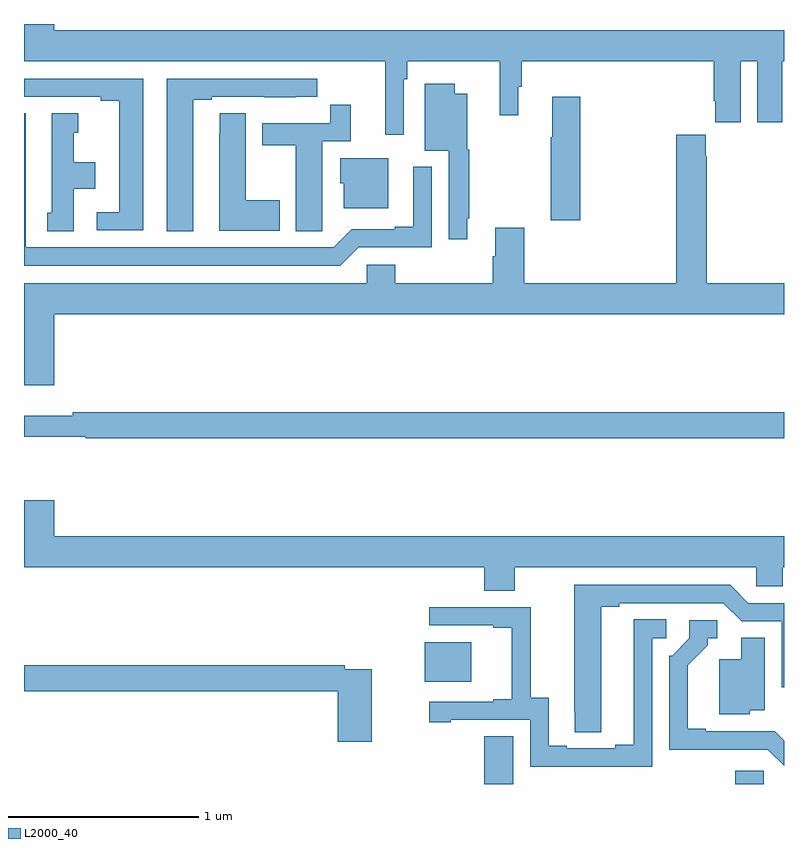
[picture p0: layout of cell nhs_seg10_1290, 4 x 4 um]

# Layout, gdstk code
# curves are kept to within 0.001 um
import gdstk
lib = gdstk.Library(unit=1e-6, precision=1e-09)
def R(c, l, rs):  # rectangles x0, y0, x1, y1
    for r in rs: c.add(gdstk.rectangle(r[:2], r[2:], *l))
def P(c, l, *ps):  # polygons
    for p in ps: c.add(gdstk.Polygon(p, *l))
L2000_40 = (2000, 40)

nhs_seg10_1290 = lib.new_cell('nhs_seg10_1290')
R(nhs_seg10_1290, L2000_40, [(179.423,1308.5,179.575,1308.752), (180.743,1308.5,180.894,1308.57), (179.108,1309.037,179.353,1309.246)])
P(nhs_seg10_1290, L2000_40, [(178.998,1312.208),(179.018,1312.208),(179.018,1312.304),(179.503,1312.304),(179.503,1312.02),(179.602,1312.02),(179.602,1312.17),(179.621,1312.17),(179.621,1312.304),(180.629,1312.304),(180.629,1312.096),(180.638,1312.096),(180.638,1311.984),(180.772,1311.984),(180.772,1312.304),(180.86,1312.304),(180.86,1311.984),(180.99,1311.984),(180.99,1312.096),(180.991,1312.096),(180.991,1312.304),(181,1312.304),(181,1312.468),(177.16,1312.468),(177.16,1312.5),(177,1312.5),(177,1312.304),(178.901,1312.304),(178.901,1311.918),(178.998,1311.918)],
  [(177.628,1312.212),(177,1312.212),(177,1312.116),(177.404,1312.116),(177.404,1312.096),(177.5,1312.096),(177.5,1311.51),(177.384,1311.51),(177.384,1311.414),(177.628,1311.414)],
  [(177.892,1312.101),(177.988,1312.101),(177.988,1312.116),(178.264,1312.116),(178.264,1312.115),(178.43,1312.115),(178.43,1312.116),(178.543,1312.116),(178.543,1312.212),(177.752,1312.212),(177.752,1311.409),(177.892,1311.409)],
  [(179.332,1311.478),(179.344,1311.478),(179.344,1311.837),(179.332,1311.837),(179.332,1312.132),(179.266,1312.132),(179.266,1312.186),(179.108,1312.186),(179.108,1311.833),(179.235,1311.833),(179.235,1311.366),(179.332,1311.366)],
  [(179.927,1312.117),(179.78,1312.117),(179.78,1311.904),(179.773,1311.904),(179.773,1311.468),(179.927,1311.468)],
  [(178.569,1311.52),(178.57,1311.52),(178.57,1311.882),(178.721,1311.882),(178.721,1312.075),(178.612,1312.075),(178.612,1311.978),(178.253,1311.978),(178.253,1311.862),(178.43,1311.862),(178.43,1311.409),(178.569,1311.409)],
  [(178.345,1311.573),(178.168,1311.573),(178.168,1312.031),(178.029,1312.031),(178.029,1311.923),(178.028,1311.923),(178.028,1311.413),(178.345,1311.413)],
  [(177.262,1311.632),(177.376,1311.632),(177.376,1311.772),(177.262,1311.772),(177.262,1311.927),(177.286,1311.927),(177.286,1312.03),(177.146,1312.03),(177.146,1311.507),(177.122,1311.507),(177.122,1311.409),(177.262,1311.409)],
  [(178.761,1311.324),(179.145,1311.324),(179.145,1311.748),(179.048,1311.748),(179.048,1311.433),(178.952,1311.433),(178.952,1311.42),(178.725,1311.42),(178.629,1311.324),(177.01,1311.324),(177.01,1312.03),(177,1312.03),(177,1311.228),(178.665,1311.228)],
  [(177.16,1310.972),(181,1310.972),(181,1311.136),(180.594,1311.136),(180.594,1311.803),(180.587,1311.803),(180.587,1311.916),(180.434,1311.916),(180.434,1311.136),(179.633,1311.136),(179.633,1311.427),(179.48,1311.427),(179.48,1311.278),(179.468,1311.278),(179.468,1311.136),(178.955,1311.136),(178.955,1311.234),(178.803,1311.234),(178.803,1311.136),(177,1311.136),(177,1310.598),(177.16,1310.598)],
  [(178.918,1311.793),(178.664,1311.793),(178.664,1311.663),(178.682,1311.663),(178.682,1311.53),(178.918,1311.53)],
  [(181,1310.456),(177.256,1310.456),(177.256,1310.437),(177,1310.437),(177,1310.328),(177.326,1310.328),(177.326,1310.32),(181,1310.32)],
  [(179.583,1309.64),(180.855,1309.64),(180.855,1309.542),(180.993,1309.542),(180.993,1309.64),(181,1309.64),(181,1309.804),(177.16,1309.804),(177.16,1309.993),(177,1309.993),(177,1309.64),(179.423,1309.64),(179.423,1309.516),(179.583,1309.516)],
  [(180.037,1309.432),(180.133,1309.432),(180.133,1309.452),(180.681,1309.452),(180.777,1309.356),(180.987,1309.356),(180.987,1309.008),(181,1309.008),(181,1309.452),(180.813,1309.452),(180.717,1309.548),(179.897,1309.548),(179.898,1308.772),(180.037,1308.772)],
  [(180.306,1309.266),(180.379,1309.266),(180.379,1309.367),(180.209,1309.367),(180.209,1308.707),(180.113,1308.707),(180.113,1308.687),(179.857,1308.687),(179.857,1308.702),(179.761,1308.702),(179.761,1308.953),(179.667,1308.953),(179.667,1309.431),(179.133,1309.431),(179.133,1309.335),(179.471,1309.335),(179.471,1309.323),(179.567,1309.323),(179.567,1308.946),(179.471,1308.946),(179.471,1308.933),(179.133,1308.933),(179.133,1308.825),(179.245,1308.825),(179.245,1308.837),(179.664,1308.837),(179.664,1308.591),(180.306,1308.591)],
  [(181,1308.728),(180.951,1308.777),(180.589,1308.777),(180.589,1308.79),(180.493,1308.79),(180.493,1309.126),(180.598,1309.231),(180.598,1309.266),(180.649,1309.266),(180.649,1309.362),(180.501,1309.362),(180.501,1309.266),(180.411,1309.176),(180.396,1309.176),(180.396,1308.68),(180.915,1308.681),(181,1308.596)],
  [(180.819,1308.887),(180.898,1308.887),(180.898,1309.271),(180.776,1309.271),(180.776,1309.156),(180.659,1309.156),(180.659,1308.866),(180.819,1308.866)],
  [(178.83,1309.104),(178.688,1309.104),(178.688,1309.124),(177,1309.124),(177,1308.988),(178.652,1308.988),(178.652,1308.723),(178.83,1308.723)])

lib.write_gds('nhs_seg10_1290.gds')
